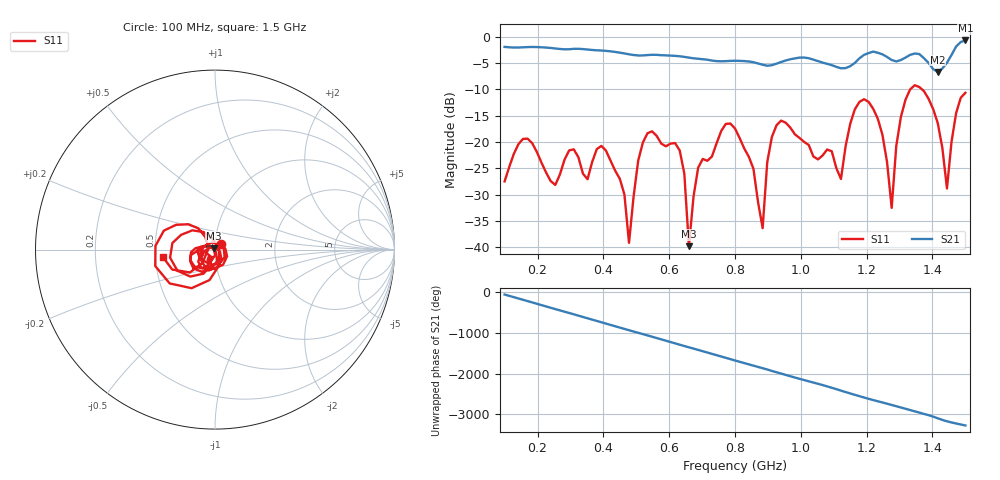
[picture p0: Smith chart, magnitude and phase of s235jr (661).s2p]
! NanoVNA-App
! Date: 2025-09-25 15:09:19
! Start: 100MHz Stop: 1,5GHz Points: 101
! S-Parameter data: F S11 S21 S12 S22
# Hz S RI R 50
!  Frequency  S11_Real  S11_Imag  S21_Real  S21_Imag  S12_Real  S12_Imag  S22_Real  S22_Imag
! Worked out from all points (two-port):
!   101 points, 100 MHz to 1.5 GHz, reference 50 ohm
!   highest |S21| = -0.74 dB at 1.5 GHz (marker M1); lowest = -6.7 dB at 1.416 GHz (marker M2)
!   |S21| within 3 dB of the highest: start of sweep to 631.8 MHz; 1.186 GHz to 1.258 GHz (71.88 MHz wide, 5.88 % of centre) (the widest 2 of 4)
!   lowest |S11| = -39.8 dB at 660 MHz (marker M3), VSWR 1.02, Z = 49.2 + j0.619 ohm
!   |S11| at or under -10 dB: start of sweep to 1.333 GHz; 1.368 GHz to end of sweep
!   S12 and S22 are empty: the file has one direction only
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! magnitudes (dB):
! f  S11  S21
! 100 MHz  -27.5  -2.0
! 156 MHz  -19.4  -2.0
! 338 MHz  -26.0  -2.4
! 408 MHz  -21.6  -2.7
! 478 MHz  -39.1  -3.4
! 520 MHz  -20.1  -3.6
! 576 MHz  -20.3  -3.5
! 632 MHz  -21.6  -3.7
! 660 MHz  -39.8  -4.0
! 688 MHz  -24.9  -4.2
! 800 MHz  -17.4  -4.6
! 884 MHz  -36.3  -5.4
! 926 MHz  -16.8  -5.1
! 1.038 GHz  -22.7  -4.4
! 1.122 GHz  -27.0  -6.0
! 1.206 GHz  -12.4  -3.1
! 1.276 GHz  -32.5  -4.5
! 1.29 GHz  -20.7  -4.7
! 1.332 GHz  -10.0  -3.5
! 1.416 GHz  -16.4  -6.7
! 1.444 GHz  -28.8  -5.0
! 1.5 GHz  -10.7  -0.7
